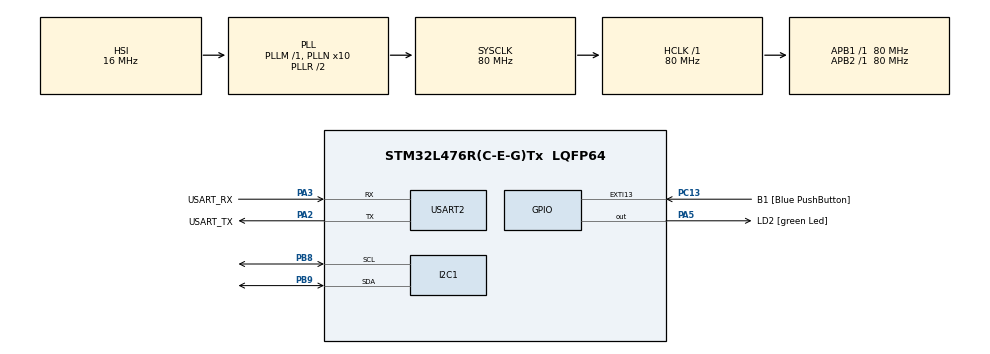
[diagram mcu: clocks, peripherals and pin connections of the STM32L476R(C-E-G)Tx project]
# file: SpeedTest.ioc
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I2C1.Timing=0x10909CEC
Mcu.Family=STM32L4
Mcu.Name=STM32L476R(C-E-G)Tx
Mcu.Package=LQFP64
NVIC.PriorityGroup=NVIC_PRIORITYGROUP_4
PA13\ (JTMS-SWDIO).GPIO_Label=TMS
PA13\ (JTMS-SWDIO).Mode=Serial_Wire
PA13\ (JTMS-SWDIO).Signal=SYS_JTMS-SWDIO
PA14\ (JTCK-SWCLK).GPIO_Label=TCK
PA14\ (JTCK-SWCLK).Mode=Serial_Wire
PA14\ (JTCK-SWCLK).Signal=SYS_JTCK-SWCLK
PA2.GPIO_Label=USART_TX
PA2.GPIO_Mode=GPIO_MODE_AF_PP
PA2.GPIO_PuPd=GPIO_NOPULL
PA2.GPIO_Speed=GPIO_SPEED_FREQ_VERY_HIGH
PA2.Mode=Asynchronous
PA2.Signal=USART2_TX
PA3.GPIO_Label=USART_RX
PA3.GPIO_Mode=GPIO_MODE_AF_PP
PA3.GPIO_PuPd=GPIO_NOPULL
PA3.GPIO_Speed=GPIO_SPEED_FREQ_VERY_HIGH
PA3.Mode=Asynchronous
PA3.Signal=USART2_RX
PA5.GPIO_Label=LD2 [green Led]
PA5.GPIO_ModeDefaultOutputPP=GPIO_MODE_OUTPUT_PP
PA5.GPIO_PuPd=GPIO_NOPULL
PA5.GPIO_Speed=GPIO_SPEED_FREQ_LOW
PA5.Signal=GPIO_Output
PB3\ (JTDO-TRACESWO).GPIO_Label=SWO
PB3\ (JTDO-TRACESWO).Signal=SYS_JTDO-SWO
PB8.Mode=I2C
PB8.Signal=I2C1_SCL
PB9.Mode=I2C
PB9.Signal=I2C1_SDA
PC13.GPIO_Label=B1 [Blue PushButton]
PC13.GPIO_ModeDefaultEXTI=GPIO_MODE_IT_FALLING
PC13.GPIO_PuPd=GPIO_NOPULL
PC13.Signal=GPXTI13
PC14-OSC32_IN\ (PC14).Mode=LSE-External-Oscillator
PC14-OSC32_IN\ (PC14).Signal=RCC_OSC32_IN
PC15-OSC32_OUT\ (PC15).Mode=LSE-External-Oscillator
PC15-OSC32_OUT\ (PC15).Signal=RCC_OSC32_OUT
PH0-OSC_IN\ (PH0).Signal=RCC_OSC_IN
PH1-OSC_OUT\ (PH1).Signal=RCC_OSC_OUT
ProjectManager.HeapSize=0x200
ProjectManager.StackSize=0x400
ProjectManager.TargetToolchain=STM32CubeIDE
RCC.ADCFreq_Value=64000000
RCC.AHBFreq_Value=80000000
RCC.APB1Freq_Value=80000000
RCC.APB1TimFreq_Value=80000000
RCC.APB2Freq_Value=80000000
RCC.APB2TimFreq_Value=80000000
RCC.CortexFreq_Value=80000000
RCC.HCLKFreq_Value=80000000
RCC.HSE_VALUE=8000000
RCC.HSI_VALUE=16000000
RCC.MSI_VALUE=4000000
RCC.PLLN=10
RCC.PLLSourceVirtual=RCC_PLLSOURCE_HSI
RCC.PREFETCH_ENABLE=1
RCC.SYSCLKFreq_VALUE=80000000
RCC.SYSCLKSource=RCC_SYSCLKSOURCE_PLLCLK
RCC.USBFreq_Value=64000000
RCC.VCOOutputFreq_Value=160000000
TIM16.Prescaler=80
USART2.VirtualMode-Asynchronous=VM_ASYNC
VP_TIM16_VS_ClockSourceINT.Mode=Enable_Timer
board=NUCLEO-L476RG

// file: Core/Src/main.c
/* USER CODE BEGIN Header */
/**
  ******************************************************************************
  * @file           : main.c
  * @brief          : Main program body
  ******************************************************************************
  * @attention
  *
  * Copyright (c) 2022 STMicroelectronics.
  * All rights reserved.
  *
  * This software is licensed under terms that can be found in the LICENSE file
  * in the root directory of this software component.
  * If no LICENSE file comes with this software, it is provided AS-IS.
  *
  ******************************************************************************
  */
/* USER CODE END Header */
#include "main.h"

/* USER CODE BEGIN Includes */
#include <string.h>
#include <stdio.h>
/* USER CODE END Includes */

 I2C_HandleTypeDef hi2c1;

TIM_HandleTypeDef htim16;

UART_HandleTypeDef huart2;

/* USER CODE BEGIN PV */
int _write(int fd, char* ptr, int len)
{
	HAL_UART_Transmit(&huart2, (uint8_t*)ptr, len, HAL_MAX_DELAY);
	return len;
}
/* USER CODE END PV */

void SystemClock_Config(void);
static void MX_GPIO_Init(void);
static void MX_USART2_UART_Init(void);
static void MX_TIM16_Init(void);
static void MX_I2C1_Init(void);

/* USER CODE BEGIN 0 */
const uint8_t flashData[100] = { 1, 2, 3, 4, 5, 6, 7, 8, 9, 10};
uint8_t ramData[100] = { 1, 2, 3, 4, 5, 6, 7, 8, 9, 10};
uint8_t destData[100];

/* USER CODE END 0 */

int main(void)
{

  /* MCU Configuration--------------------------------------------------------*/

  /* Reset of all peripherals, Initializes the Flash interface and the Systick. */
  HAL_Init();

  /* Configure the system clock */
  SystemClock_Config();

  /* Initialize all configured peripherals */
  MX_GPIO_Init();
  MX_USART2_UART_Init();
  MX_TIM16_Init();
  MX_I2C1_Init();
  /* USER CODE BEGIN 2 */

  __HAL_TIM_SET_COUNTER(&htim16, 0);
  HAL_TIM_Base_Start(&htim16);

  memcpy(destData,flashData,64);

  HAL_TIM_Base_Stop(&htim16);

  int r = __HAL_TIM_GET_COUNTER(&htim16);
  printf("flash = %d\r\n",r);

/////////////////////////////////////////////////////////////////////

  __HAL_TIM_SET_COUNTER(&htim16, 0);
  HAL_TIM_Base_Start(&htim16);

  memcpy(destData,ramData,64);

  HAL_TIM_Base_Stop(&htim16);

  r = __HAL_TIM_GET_COUNTER(&htim16);
  printf("ram = %d\r\n",r);

  /////////////////////////////////////////////////////////////////////

  __HAL_TIM_SET_COUNTER(&htim16, 0);
  HAL_TIM_Base_Start(&htim16);

  HAL_I2C_Mem_Read(&hi2c1, 0xD0, 0, 1, &destData, 64, 0Xff);

  HAL_TIM_Base_Stop(&htim16);

  r = __HAL_TIM_GET_COUNTER(&htim16);
  printf("I2C = %d\r\n",r);

  /* USER CODE END 2 */

  /* Infinite loop */
  while (1)
  {

  }
}

void SystemClock_Config(void)
{
  RCC_OscInitTypeDef RCC_OscInitStruct = {0};
  RCC_ClkInitTypeDef RCC_ClkInitStruct = {0};

  /** Configure the main internal regulator output voltage
  */
  if (HAL_PWREx_ControlVoltageScaling(PWR_REGULATOR_VOLTAGE_SCALE1) != HAL_OK)
  {
    Error_Handler();
  }

  /** Initializes the RCC Oscillators according to the specified parameters
  * in the RCC_OscInitTypeDef structure.
  */
  RCC_OscInitStruct.OscillatorType = RCC_OSCILLATORTYPE_HSI;
  RCC_OscInitStruct.HSIState = RCC_HSI_ON;
  RCC_OscInitStruct.HSICalibrationValue = RCC_HSICALIBRATION_DEFAULT;
  RCC_OscInitStruct.PLL.PLLState = RCC_PLL_ON;
  RCC_OscInitStruct.PLL.PLLSource = RCC_PLLSOURCE_HSI;
  RCC_OscInitStruct.PLL.PLLM = 1;
  RCC_OscInitStruct.PLL.PLLN = 10;
  RCC_OscInitStruct.PLL.PLLP = RCC_PLLP_DIV7;
  RCC_OscInitStruct.PLL.PLLQ = RCC_PLLQ_DIV2;
  RCC_OscInitStruct.PLL.PLLR = RCC_PLLR_DIV2;
  if (HAL_RCC_OscConfig(&RCC_OscInitStruct) != HAL_OK)
  {
    Error_Handler();
  }

  /** Initializes the CPU, AHB and APB buses clocks
  */
  RCC_ClkInitStruct.ClockType = RCC_CLOCKTYPE_HCLK|RCC_CLOCKTYPE_SYSCLK
                              |RCC_CLOCKTYPE_PCLK1|RCC_CLOCKTYPE_PCLK2;
  RCC_ClkInitStruct.SYSCLKSource = RCC_SYSCLKSOURCE_PLLCLK;
  RCC_ClkInitStruct.AHBCLKDivider = RCC_SYSCLK_DIV1;
  RCC_ClkInitStruct.APB1CLKDivider = RCC_HCLK_DIV1;
  RCC_ClkInitStruct.APB2CLKDivider = RCC_HCLK_DIV1;

  if (HAL_RCC_ClockConfig(&RCC_ClkInitStruct, FLASH_LATENCY_4) != HAL_OK)
  {
    Error_Handler();
  }
}

static void MX_I2C1_Init(void)
{

  hi2c1.Instance = I2C1;
  hi2c1.Init.Timing = 0x10909CEC;
  hi2c1.Init.OwnAddress1 = 0;
  hi2c1.Init.AddressingMode = I2C_ADDRESSINGMODE_7BIT;
  hi2c1.Init.DualAddressMode = I2C_DUALADDRESS_DISABLE;
  hi2c1.Init.OwnAddress2 = 0;
  hi2c1.Init.OwnAddress2Masks = I2C_OA2_NOMASK;
  hi2c1.Init.GeneralCallMode = I2C_GENERALCALL_DISABLE;
  hi2c1.Init.NoStretchMode = I2C_NOSTRETCH_DISABLE;
  if (HAL_I2C_Init(&hi2c1) != HAL_OK)
  {
    Error_Handler();
  }

  /** Configure Analogue filter
  */
  if (HAL_I2CEx_ConfigAnalogFilter(&hi2c1, I2C_ANALOGFILTER_ENABLE) != HAL_OK)
  {
    Error_Handler();
  }

  /** Configure Digital filter
  */
  if (HAL_I2CEx_ConfigDigitalFilter(&hi2c1, 0) != HAL_OK)
  {
    Error_Handler();
  }

}

static void MX_TIM16_Init(void)
{

  htim16.Instance = TIM16;
  htim16.Init.Prescaler = 80;
  htim16.Init.CounterMode = TIM_COUNTERMODE_UP;
  htim16.Init.Period = 65535;
  htim16.Init.ClockDivision = TIM_CLOCKDIVISION_DIV1;
  htim16.Init.RepetitionCounter = 0;
  htim16.Init.AutoReloadPreload = TIM_AUTORELOAD_PRELOAD_DISABLE;
  if (HAL_TIM_Base_Init(&htim16) != HAL_OK)
  {
    Error_Handler();
  }

}

static void MX_USART2_UART_Init(void)
{

  huart2.Instance = USART2;
  huart2.Init.BaudRate = 115200;
  huart2.Init.WordLength = UART_WORDLENGTH_8B;
  huart2.Init.StopBits = UART_STOPBITS_1;
  huart2.Init.Parity = UART_PARITY_NONE;
  huart2.Init.Mode = UART_MODE_TX_RX;
  huart2.Init.HwFlowCtl = UART_HWCONTROL_NONE;
  huart2.Init.OverSampling = UART_OVERSAMPLING_16;
  huart2.Init.OneBitSampling = UART_ONE_BIT_SAMPLE_DISABLE;
  huart2.AdvancedInit.AdvFeatureInit = UART_ADVFEATURE_NO_INIT;
  if (HAL_UART_Init(&huart2) != HAL_OK)
  {
    Error_Handler();
  }

}

static void MX_GPIO_Init(void)
{
  GPIO_InitTypeDef GPIO_InitStruct = {0};

  /* GPIO Ports Clock Enable */
  __HAL_RCC_GPIOC_CLK_ENABLE();
  __HAL_RCC_GPIOH_CLK_ENABLE();
  __HAL_RCC_GPIOA_CLK_ENABLE();
  __HAL_RCC_GPIOB_CLK_ENABLE();

  /*Configure GPIO pin Output Level */
  HAL_GPIO_WritePin(LD2_GPIO_Port, LD2_Pin, GPIO_PIN_RESET);

  /*Configure GPIO pin : B1_Pin */
  GPIO_InitStruct.Pin = B1_Pin;
  GPIO_InitStruct.Mode = GPIO_MODE_IT_FALLING;
  GPIO_InitStruct.Pull = GPIO_NOPULL;
  HAL_GPIO_Init(B1_GPIO_Port, &GPIO_InitStruct);

  /*Configure GPIO pin : LD2_Pin */
  GPIO_InitStruct.Pin = LD2_Pin;
  GPIO_InitStruct.Mode = GPIO_MODE_OUTPUT_PP;
  GPIO_InitStruct.Pull = GPIO_NOPULL;
  GPIO_InitStruct.Speed = GPIO_SPEED_FREQ_LOW;
  HAL_GPIO_Init(LD2_GPIO_Port, &GPIO_InitStruct);

}

void Error_Handler(void)
{
  __disable_irq();
  while (1)
  {
  }
}
